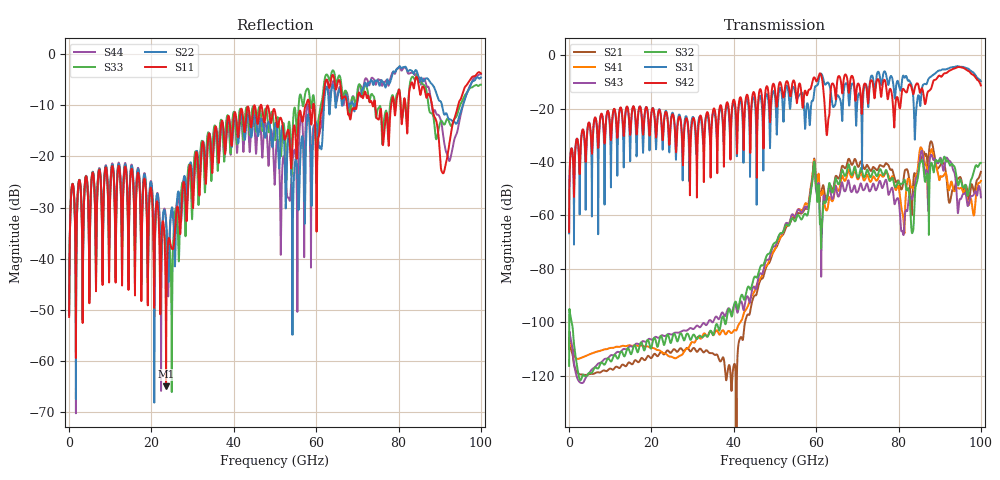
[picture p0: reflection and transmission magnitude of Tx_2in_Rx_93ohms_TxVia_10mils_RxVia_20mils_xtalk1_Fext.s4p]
! Info: Touchstone file created by Circ.  Input file=Tx_2in_Rx_93ohms_TxVia_10mils_RxVia_20mils.circ
# Hz S RI R 50
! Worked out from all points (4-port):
!   10000 points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, 10 MHz to 100 GHz, reference 50 ohm
!   strongest paths, dB at 10 MHz, 25.01 GHz, 50.01 GHz, 75.01 GHz, 100 GHz:
!     S42: -66.2, -22.4, -13.1, -9.0, -11.4
!     S31: -66.7, -21.7, -15.7, -6.2, -9.8
!     S32: -116.3, -106.3, -70.3, -44.7, -40.3
!     S43: -106.9, -104.5, -71.5, -48.9, -53.2
!     S41: -107.5, -113.0, -72.5, -46.3, -47.1
!     S21: -107.7, -110.9, -72.7, -42.7, -43.7
!   lowest |S11| = -64.9 dB at 23.55 GHz (marker M1), VSWR 1.00, Z = 50 + j0.0463 ohm
!   |S11| at or under -10 dB: start of sweep to 44.96 GHz; 46.7 GHz to 57.46 GHz (10.75 GHz wide, 20.6 % of centre); 88.15 GHz to 94.45 GHz (6.297 GHz wide, 6.9 % of centre) (the widest 3 of 12)
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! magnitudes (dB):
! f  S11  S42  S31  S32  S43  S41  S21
! 10 MHz  -51.3  -66.2  -66.7  -116.3  -106.9  -107.5  -107.7
! 4.8 GHz  -35.5  -25.2  -25.3  -119.0  -119.2  -112.1  -119.5
! 23.55 GHz  -64.9  -21.2  -20.9  -105.8  -105.0  -111.9  -111.1
! 47.48 GHz  -13.3  -17.5  -19.3  -77.4  -78.6  -79.9  -81.3
! 59.34 GHz  -9.7  -8.6  -16.2  -42.1  -42.0  -40.9  -40.9
! 83.34 GHz  -5.6  -13.3  -12.4  -66.6  -53.6  -49.6  -55.3
! 100 GHz  -3.8  -11.4  -9.8  -40.3  -53.2  -47.1  -43.7
